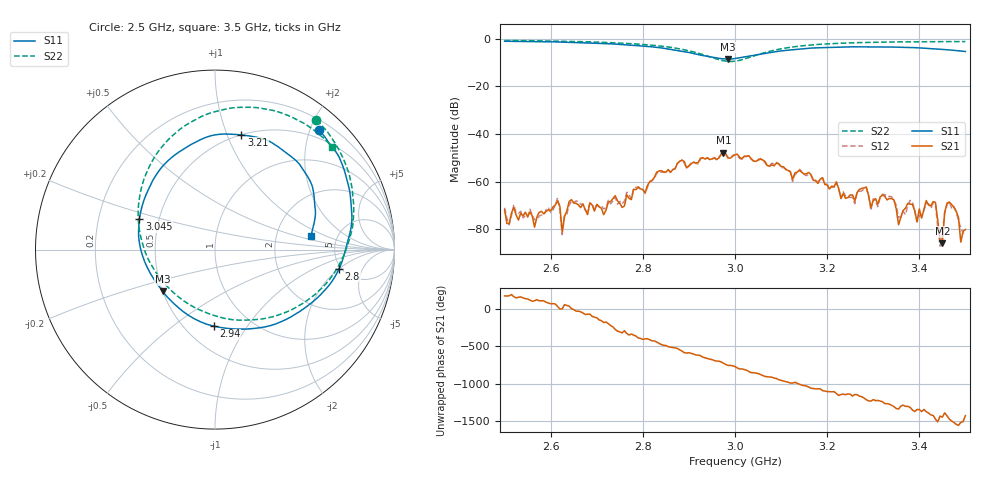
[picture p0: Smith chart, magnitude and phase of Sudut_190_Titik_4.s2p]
# Hz S RI R 50
! CMT, C1220, 16058040, 17.2.0/1
! Date: 15/08/2018 10:34:00
! Data: Format (Calibration Info)
! Freq  S11: Re/Im (F2)  S21: Re/Im (F2)  S12: Re/Im (F2)  S22: Re/Im (F2)
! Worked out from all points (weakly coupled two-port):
!   201 points, 2.5 GHz to 3.5 GHz, reference 50 ohm
!   highest |S21| = -47.82 dB at 2.975 GHz (marker M1); lowest = -85.8 dB at 3.45 GHz (marker M2)
!   lowest |S11| = -8.6 dB at 2.985 GHz (marker M3), VSWR 2.19, Z = 25 - j13.5 ohm
!   |S11| at or under -10 dB: nowhere
!   |S22| runs from -9.6 to -0.8 dB; largest |S21 - S12| = 0.00028
!   S11 on the Smith chart (normalised r, x): 2.5 GHz: 0.36, +2.15; 2.8 GHz: 4.79, -1.99; 2.94 GHz: 0.68, -0.71; 3.045 GHz: 0.39, +0.17; 3.21 GHz: 0.50, +1.12; 3.5 GHz: 3.18, +0.68
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2.5e9  0.5791 0.6651  -0.000251 5.64e-05  -0.000278 6.6e-05  0.5653 0.7223
2.565e9  0.6575 0.5651  -2.49e-05 0.000109  -1.17e-05 0.000159  0.6377 0.6401
2.615e9  0.7092 0.4736  0.000354 0.000173  0.000425 0.000179  0.6886 0.5596
2.625e9  0.7187 0.4467  8.72e-05 -7.24e-06  6.92e-05 3.57e-05  0.6979 0.5417
2.64e9  0.7304 0.407  0.000325 0.000206  0.000273 0.000166  0.7116 0.5141
2.67e9  0.7481 0.3369  0.000174 -0.000294  0.000155 -0.000302  0.7369 0.4514
2.8e9  0.6912 -0.1063  0.000441 -0.00053  0.000411 -0.000541  0.7539 0.0741
2.835e9  0.6057 -0.2327  -0.000353 -0.00164  -0.000312 -0.00159  0.7029 -0.0625
2.94e9  -0.00717 -0.4266  0.00177 0.00263  0.00182 0.00265  0.1779 -0.3926
2.975e9  -0.2373 -0.2931  0.00403 -0.000486  0.00387 -0.000548  -0.1013 -0.3293
2.985e9  -0.2916 -0.2326  0.00255 -0.00182  0.0027 -0.00174  -0.175 -0.2852
3e9  -0.3583 -0.1361  0.00229 -0.00285  0.00209 -0.00305  -0.2723 -0.1993
3.045e9  -0.4214 0.1718  -0.00196 -0.00181  -0.00201 -0.00195  -0.4254 0.1394
3.17e9  -0.003 0.6386  0.00103 0.000328  0.000985 0.000391  -0.0779 0.7404
3.21e9  0.1469 0.6384  0.000731 -0.000346  0.000661 -0.000402  0.067 0.7844
3.295e9  0.3872 0.5471  -0.000249 -0.000146  -0.000236 -8.02e-05  0.3125 0.7781
3.335e9  0.4672 0.4795  -0.000439 7.94e-05  -0.000469 0.000148  0.403 0.749
3.355e9  0.4975 0.4356  -3.32e-05 0.000121  -7.12e-05 0.000166  0.4411 0.7316
3.435e9  0.5565 0.2401  0.000323 -0.000178  0.000283 -0.000191  0.5722 0.6485
3.45e9  0.5597 0.2034  5.11e-05 -1.34e-06  8.41e-05 1.51e-05  0.5935 0.6311
3.465e9  0.556 0.1681  0.000334 -0.000172  0.000359 -0.000127  0.6115 0.6155
3.5e9  0.5335 0.076  9.49e-05 3.11e-05  9.07e-05 -3.43e-06  0.6518 0.5737
